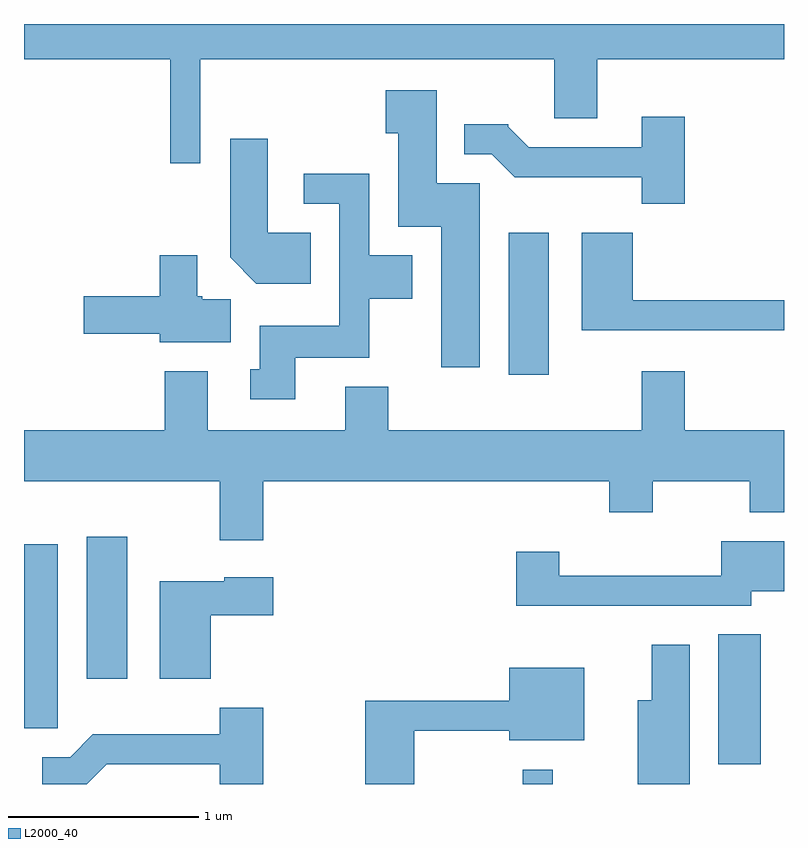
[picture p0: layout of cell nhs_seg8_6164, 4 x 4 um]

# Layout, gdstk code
import gdstk
lib = gdstk.Library(unit=1e-6, precision=1e-09)
def R(c, l, rs):  # rectangles x0, y0, x1, y1
    for r in rs: c.add(gdstk.rectangle(r[:2], r[2:], *l))
def P(c, l, *ps):  # polygons
    for p in ps: c.add(gdstk.Polygon(p, *l))
L2000_40 = (2000, 40)

nhs_seg8_6164 = lib.new_cell('nhs_seg8_6164')
R(nhs_seg8_6164, L2000_40, [(372.236,1870.342,372.394,1870.418), (373.266,1870.446,373.489,1871.129), (369.611,1870.636,369.789,1871.604), (369.941,1870.896,370.154,1871.644), (372.161,1872.496,372.374,1873.244)])
P(nhs_seg8_6164, L2000_40, [(370.539,1874.156),(372.401,1874.156),(372.401,1873.846),(372.629,1873.846),(372.629,1874.156),(373.611,1874.156),(373.611,1874.342),(369.611,1874.342),(369.611,1874.156),(370.381,1874.156),(370.381,1873.608),(370.539,1873.608)],
  [(372.009,1873.504),(371.784,1873.504),(371.784,1873.994),(371.516,1873.994),(371.516,1873.766),(371.581,1873.766),(371.581,1873.276),(371.806,1873.276),(371.806,1872.536),(372.009,1872.536)],
  [(373.089,1873.854),(372.861,1873.854),(372.861,1873.694),(372.267,1873.694),(372.16,1873.801),(372.16,1873.814),(371.928,1873.814),(371.928,1873.656),(372.074,1873.656),(372.194,1873.536),(372.861,1873.536),(372.861,1873.396),(373.089,1873.396)],
  [(371.119,1873.244),(370.894,1873.244),(370.894,1873.739),(370.696,1873.739),(370.696,1873.114),(370.834,1872.976),(371.119,1872.976)],
  [(371.039,1872.586),(371.429,1872.586),(371.429,1872.896),(371.654,1872.896),(371.654,1873.124),(371.429,1873.124),(371.429,1873.554),(371.083,1873.554),(371.083,1873.396),(371.271,1873.396),(371.271,1872.754),(370.851,1872.754),(370.851,1872.524),(370.803,1872.524),(370.803,1872.366),(371.039,1872.366)],
  [(373.611,1872.889),(372.814,1872.889),(372.814,1873.244),(372.546,1873.244),(372.546,1872.731),(373.611,1872.731)],
  [(370.699,1872.894),(370.55,1872.894),(370.55,1872.909),(370.524,1872.909),(370.524,1873.124),(370.326,1873.124),(370.326,1872.909),(369.926,1872.909),(369.926,1872.711),(370.326,1872.711),(370.326,1872.666),(370.699,1872.666)],
  [(370.869,1871.936),(372.691,1871.936),(372.691,1871.771),(372.919,1871.771),(372.919,1871.936),(373.431,1871.936),(373.431,1871.771),(373.611,1871.771),(373.611,1872.204),(373.089,1872.204),(373.089,1872.514),(372.861,1872.514),(372.861,1872.204),(371.529,1872.204),(371.529,1872.434),(371.301,1872.434),(371.301,1872.204),(370.579,1872.204),(370.579,1872.514),(370.351,1872.514),(370.351,1872.204),(369.611,1872.204),(369.611,1871.936),(370.641,1871.936),(370.641,1871.626),(370.869,1871.626)],
  [(373.439,1871.356),(373.611,1871.356),(373.611,1871.619),(373.281,1871.619),(373.281,1871.439),(372.429,1871.439),(372.429,1871.564),(372.201,1871.564),(372.201,1871.281),(373.439,1871.281)],
  [(370.594,1871.231),(370.924,1871.231),(370.924,1871.429),(370.666,1871.429),(370.666,1871.409),(370.326,1871.409),(370.326,1870.896),(370.594,1870.896)],
  [(373.114,1871.074),(372.916,1871.074),(372.916,1870.784),(372.841,1870.784),(372.841,1870.342),(373.114,1870.342)],
  [(371.664,1870.621),(372.166,1870.621),(372.166,1870.571),(372.559,1870.571),(372.559,1870.954),(372.166,1870.954),(372.166,1870.779),(371.406,1870.779),(371.406,1870.342),(371.664,1870.342)],
  [(370.047,1870.446),(370.641,1870.446),(370.641,1870.342),(370.869,1870.342),(370.869,1870.744),(370.641,1870.744),(370.641,1870.604),(369.974,1870.604),(369.854,1870.484),(369.708,1870.484),(369.708,1870.342),(369.942,1870.342)])

lib.write_gds('nhs_seg8_6164.gds')
